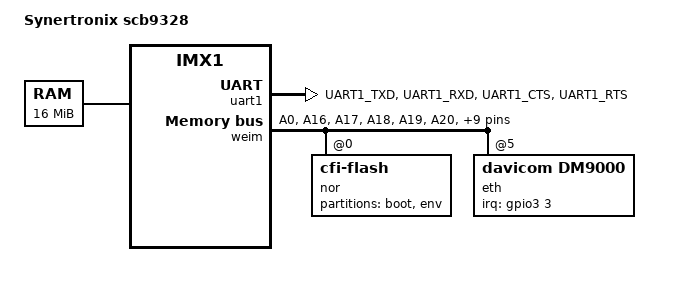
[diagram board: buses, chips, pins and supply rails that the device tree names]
// SPDX-License-Identifier: GPL-2.0-or-later
/*
 * Copyright (C) 2014 Alexander Shiyan <shc_work@mail.ru>
 */

/dts-v1/;
#include <arm/nxp/imx/imx1.dtsi>

/ {
	model = "Synertronix scb9328";
	compatible = "stx,scb9328", "fsl,imx1";
	barebox,disable-deep-probe;

	chosen {
		stdout-path = &uart1;

		environment {
			compatible = "barebox,environment";
			device-path = &environment_nor;
		};
	};

	memory@8000000 {
		device_type = "memory";
		reg = <0x08000000 0x01000000>;
	};
};

&uart1 {
	pinctrl-names = "default";
	pinctrl-0 = <&pinctrl_uart1>;
	uart-has-rtscts;
	status = "okay";
};

&weim {
	pinctrl-names = "default";
	pinctrl-0 = <&pinctrl_weim>;
	status = "okay";

	nor: nor@0,0 {
		compatible = "cfi-flash";
		reg = <0 0x00000000 0x01000000>;
		bank-width = <2>;
		fsl,weim-cs-timing = <0x000F2000 0x11110d01>;
		#address-cells = <1>;
		#size-cells = <1>;

		partitions {
			compatible = "fixed-partitions";
			#address-cells = <1>;
			#size-cells = <1>;

			partition@0 {
				label = "boot";
				reg = <0x00000000 0x00080000>;
			};

			environment_nor: partition@80000 {
				label = "env";
				reg = <0x00080000 0x00020000>;
			};
		};
	};

	eth: eth@5,600000 {
		pinctrl-names = "default";
		pinctrl-0 = <&pinctrl_eth>;
		compatible = "davicom,dm9000";
		reg = <
			5 0x0 0x2
			5 0x4 0x2
		>;
		interrupt-parent = <&gpio3>;
		interrupts = <3 IRQ_TYPE_LEVEL_LOW>;
		fsl,weim-cs-timing = <0x00008400 0x00000d03>;
		reg-io-width = <2>;
	};
};

&iomuxc {
	scb9328 {
		pinctrl_uart1: uart1grp {
			fsl,pins = <
				MX1_PAD_UART1_TXD__UART1_TXD	0x0
				MX1_PAD_UART1_RXD__UART1_RXD	0x0
				MX1_PAD_UART1_CTS__UART1_CTS	0x0
				MX1_PAD_UART1_RTS__UART1_RTS	0x0
			>;
		};

		pinctrl_eth: ethgrp {
			fsl,pins = <
				MX1_PAD_SSI_RXFS__GPIO3_3	0x0
			>;
		};

		pinctrl_weim: weimgrp {
			fsl,pins = <
				MX1_PAD_A0__A0			0x0
				MX1_PAD_A16__A16		0x0
				MX1_PAD_A17__A17		0x0
				MX1_PAD_A18__A18		0x0
				MX1_PAD_A19__A19		0x0
				MX1_PAD_A20__A20		0x0
				MX1_PAD_A21__A21		0x0
				MX1_PAD_A22__A22		0x0
				MX1_PAD_A23__A23		0x0
				MX1_PAD_A24__A24		0x0
				MX1_PAD_BCLK__BCLK		0x0
				MX1_PAD_CS4__CS4		0x0
				MX1_PAD_DTACK__DTACK		0x0
				MX1_PAD_ECB__ECB		0x0
				MX1_PAD_LBA__LBA		0x0
			>;
		};
	};
};
